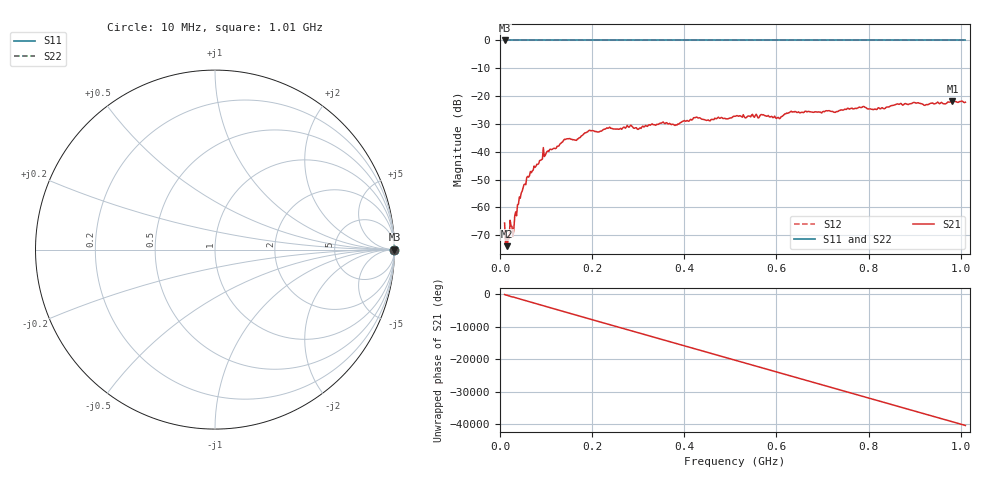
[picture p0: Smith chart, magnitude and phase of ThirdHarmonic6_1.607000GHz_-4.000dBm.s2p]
! 8/16/2025 7:10:00 PM
! C:\ANRITSUVNA\TEMP\TEMP.S2P
! CHANNEL.1
! TR.MEASUREMENT
! RAW.DATA
! RF.CORRECTION.OFF
! AVERAGING.OFF
! IF.BANDWIDTH: 5KHZ
! SWEEPTYPE:  FREQ.SWEEP(Linear)
! Reference Plane Port Info
! PORT:  PORT1  PORT2
! DISTANCE:  0  m  0  m
! TIME:  0  s  0  s
! PHASE.OFFSET:  0  deg.  0  deg.
! LOSS:  0  dB  0  dB
! REF.LOSS:  0  dB  0  dB
! REF.FREQ:  0  Hz  0  Hz
! Power Info
! POWER:  -20  dBm  -20  dBm
! EFF.POWER:  -20  dBm  -20  dBm
! SOURCE.ATTEN:  0  dB  0  dB
! TEST.ATTEN:  0  dB  0  dB
# GHZ S RI R 50.0
! FREQ.GHZ  S11RE  S11IM  S21RE  S21IM  S12RE  S12IM  S22RE  S22IM
!; PortSelection: Port_12
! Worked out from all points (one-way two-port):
!   501 points, 10 MHz to 1.01 GHz, reference 50 ohm
!   highest |S21| = -21.77 dB at 982 MHz (marker M1); lowest = -73.9 dB at 16 MHz (marker M2)
!   lowest |S11| = 0.0 dB at 10 MHz (marker M3)
!   |S11| at or under -10 dB: nowhere
!   |S22| runs from 0.0 to 0.0 dB; largest |S21 - S12| = 1.1
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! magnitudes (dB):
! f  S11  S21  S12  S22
! 10 MHz  0.0  -65.6  0.0  0.0
! 16 MHz  0.0  -73.9  0.0  0.0
! 22 MHz  0.0  -64.6  0.0  0.0
! 32 MHz  0.0  -63.1  0.0  0.0
! 38 MHz  0.0  -59.0  0.0  0.0
! 50 MHz  0.0  -52.9  0.0  0.0
! 70 MHz  0.0  -46.9  0.0  0.0
! 98 MHz  0.0  -41.4  0.0  0.0
! 142 MHz  0.0  -35.6  0.0  0.0
! 166 MHz  0.0  -35.9  0.0  0.0
! 178 MHz  0.0  -34.2  0.0  0.0
! 196 MHz  0.0  -32.4  0.0  0.0
! 280 MHz  0.0  -31.2  0.0  0.0
! 302 MHz  0.0  -31.6  0.0  0.0
! 344 MHz  0.0  -30.1  0.0  0.0
! 510 MHz  0.0  -27.2  0.0  0.0
! 604 MHz  0.0  -27.7  0.0  0.0
! 632 MHz  0.0  -25.4  0.0  0.0
! 678 MHz  0.0  -25.7  0.0  0.0
! 844 MHz  0.0  -23.9  0.0  0.0
! 982 MHz  0.0  -21.8  0.0  0.0
! 1.01 GHz  0.0  -22.2  0.0  0.0
